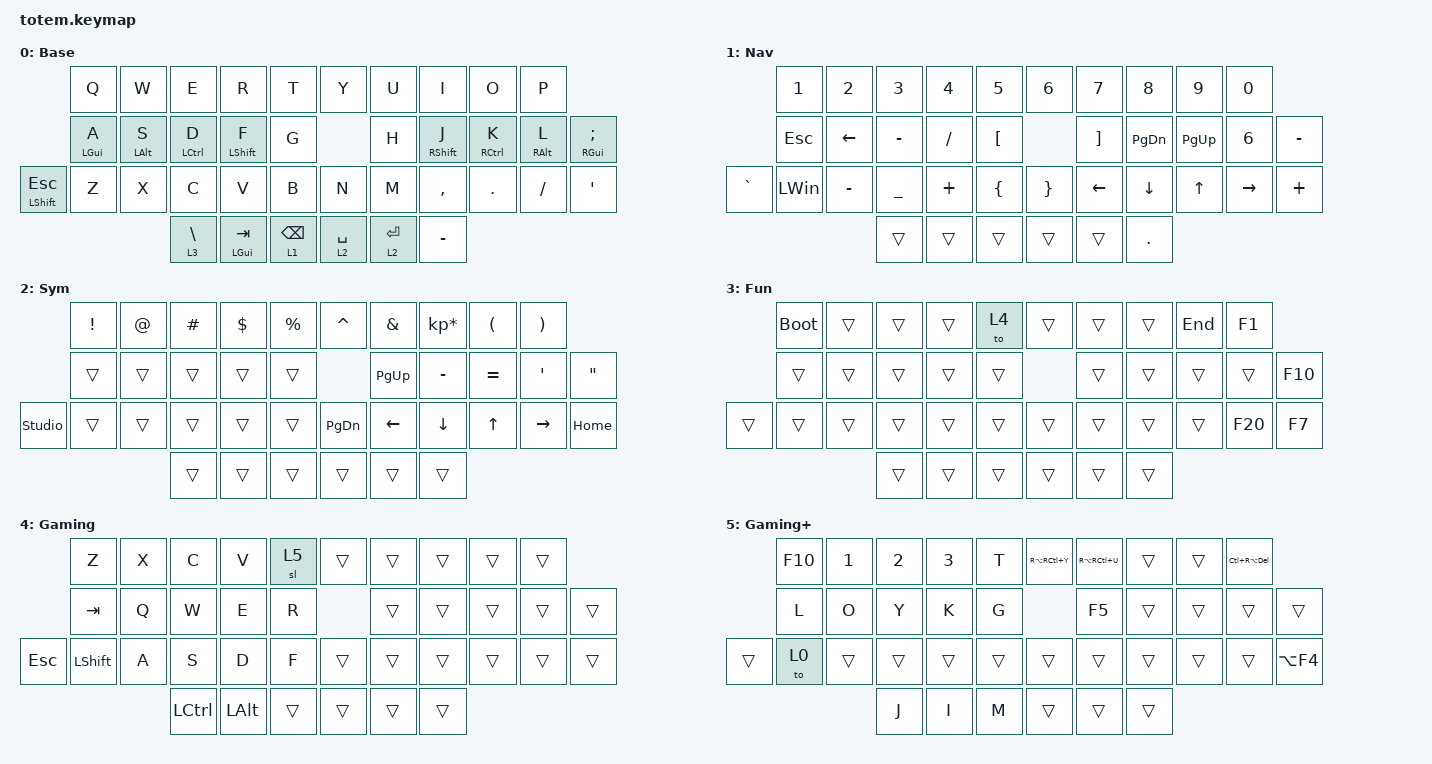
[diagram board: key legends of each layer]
//
//                                                        ▀▀▀▀▀     ▀▀▀▀▀          ▀▀█▀▀
//                                                        ▄▀▀▀▄  ▄  ▄▀▀▀▄  ▄  ▄▀▀▀▄  █  ▄▀▀▀▄
//                                                        █   █  █  █   █  █  █   █  █  █   █
//                                                         ▀▀▀   █   ▀▀▀   █   ▀▀▀   ▀   ▀▀▀
//                                                               █      ▄▄▄█▄▄▄    █   █  
//                                                               ▀      █  █  █     █▄█
//                                                             ▀▀▀▀▀    █  █  █      ▀
//                                                                      ▀  ▀  ▀
//
// ▄▄▄▄▄▄▄▄▄▄▄▄▄▄▄▄▄▄▄▄▄▄▄▄▄▄▄▄▄▄▄▄▄▄▄▄▄▄▄▄▄▄▄▄▄▄▄▄▄▄▄▄▄▄▄▄▄▄▄▄▄▄▄▄▄▄▄▄▄▄▄▄▄▄▄▄▄▄▄▄▄▄▄▄▄▄▄▄▄▄▄▄▄▄▄▄▄▄▄▄▄▄▄▄▄▄▄▄▄▄▄▄▄▄▄▄▄▄▄▄▄▄▄▄▄▄▄▄▄▄▄▄▄▄▄▄▄▄▄▄▄▄▄▄▄▄▄▄▄

#include <behaviors.dtsi>
#include <dt-bindings/zmk/keys.h>

#define Base        0
#define Nav         1
#define Sym         2
#define Fun         3
#define Game        4
#define Gameplus    5

&mt {
    quick-tap-ms = <100>;
    global-quick-tap;
    flavor = "tap-preferred";
    tapping-term-ms = <170>;
};

&lt {
    tapping-term-ms = <240>;
    flavor = "balanced";
    quick-tap-ms = <150>;
};

/ {
    behaviors {
        hm: homerow_mods {
            compatible = "zmk,behavior-hold-tap";
            label = "HOMEROW_MODS";
            #binding-cells = <2>;
            flavor = "tap-preferred";
            tapping-term-ms = <200>;
            quick-tap-ms = <125>;
            global-quick-tap;
            bindings = <&kp>, <&kp>;
        };
    };

    combos { compatible = "zmk,combos"; };

    keymap {
        compatible = "zmk,keymap";

        Base {
            display-name = "Base";
            bindings = <
              &kp Q       &kp W       &kp E          &kp R         &kp T        &kp Y    &kp U        &kp I        &kp O       &kp P
              &hm LGUI A  &hm LALT S  &hm LCTRL D    &hm LSHIFT F  &kp G        &kp H    &hm RSHFT J  &hm RCTRL K  &hm RALT L  &hm RGUI SEMICOLON
&mt LSHIFT ESCAPE  &kp Z       &kp X       &kp C          &kp V         &kp B        &kp N    &kp M        &kp COMMA    &kp DOT     &kp SLASH           &kp APOSTROPHE
                                      &lt 3 BACKSLASH  &mt LGUI TAB     &lt 1 BSPC    &lt 2 SPACE &lt 2 RET   &kp MINUS
            >;
        };

        Nav {
            display-name = "Nav";
            bindings = <
              &kp NUMBER_1       &kp NUMBER_2     &kp NUMBER_3  &kp NUMBER_4     &kp NUMBER_5    &kp NUMBER_6  &kp NUMBER_7  &kp NUMBER_8  &kp NUMBER_9  &kp NUMBER_0
              &kp ESCAPE     &kp LEFT         &kp MINUS      &kp SLASH        &kp LBKT        &kp RBKT      &kp PG_DN     &kp PG_UP     &kp NUMBER_6  &kp MINUS
&kp GRAVE     &kp LEFT_WIN       &kp MINUS        &kp UNDER        &kp PLUS         &kp LBRC        &kp RBRC      &kp LEFT      &kp DOWN      &kp UP        &kp RIGHT  &kp PLUS
                                         &trans        &trans     &trans      &trans    &trans        &kp DOT
            >;
        };

        Sym {
            display-name = "Sym";
            bindings = <
                &kp EXCL  &kp AT  &kp HASH  &kp DOLLAR  &kp PERCENT    &kp CARET  &kp AMPERSAND  &kp KP_ASTERISK  &kp LPAR  &kp RPAR
                &trans    &trans  &trans    &trans      &trans         &kp PG_UP  &kp MINUS         &kp EQUAL     &kp APOSTROPHE   &kp DQT
&studio_unlock  &trans    &trans  &trans    &trans      &trans         &kp PG_DN  &kp LEFT      &kp DOWN         &kp UP   &kp RIGHT  &kp HOME
                                  &trans    &trans      &trans         &trans     &trans         &trans
            >;
        };

        Fun {
            display-name = "Fun";
            bindings = <
        &bootloader  &trans  &trans  &trans  &to 4     &trans  &trans  &trans  &kp END  &kp F1
        &trans       &trans  &trans  &trans  &trans    &trans  &trans  &trans  &trans   &kp F10
&trans  &trans       &trans  &trans  &trans  &trans    &trans  &trans  &trans  &trans   &kp F20  &kp F7
                             &trans  &trans  &trans    &trans  &trans  &trans
            >;
        };

        Gaming {
            display-name = "Gaming";
            bindings = <
            &kp Z           &kp X  &kp C      &kp V         &sl 5     &trans  &trans  &trans  &trans  &trans
            &kp TAB         &kp Q  &kp W      &kp E         &kp R     &trans  &trans  &trans  &trans  &trans
&kp ESCAPE  &kp LEFT_SHIFT  &kp A  &kp S      &kp D         &kp F     &trans  &trans  &trans  &trans  &trans  &trans
                                   &kp LCTRL  &kp LEFT_ALT  &trans    &trans  &trans  &trans
            >;
        };

        Gaming+ {
            display-name = "Gaming+";
            bindings = <
        &kp F10  &kp NUMBER_1  &kp NUMBER_2  &kp NUMBER_3  &kp T     &kp RA(RC(Y))  &kp RA(RC(U))  &trans  &trans  &kp LC(RA(DEL))
        &kp L    &kp O         &kp Y         &kp K         &kp G     &kp F5         &trans         &trans  &trans  &trans
&trans  &to 0    &trans        &trans        &trans        &trans    &trans         &trans         &trans  &trans  &trans           &kp LA(F4)
                               &kp J         &kp I         &kp M     &trans         &trans         &trans
            >;
        };
    };
};
